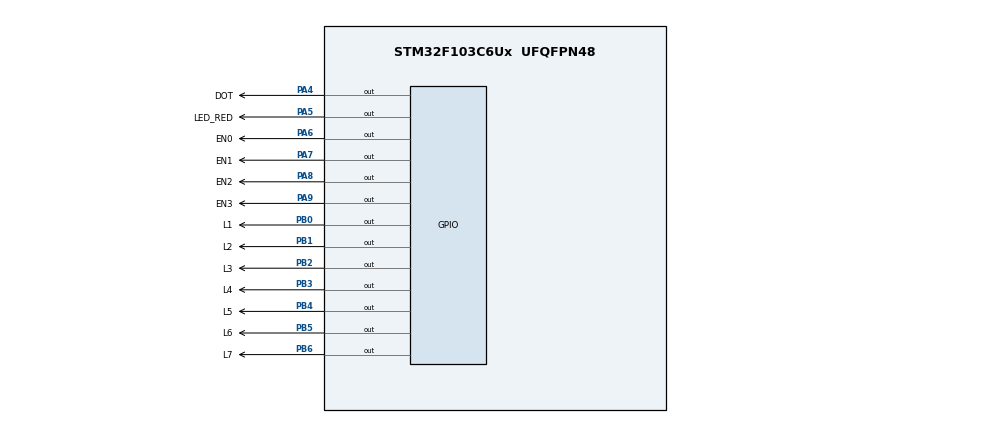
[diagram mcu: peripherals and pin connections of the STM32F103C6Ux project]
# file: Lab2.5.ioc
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Mcu.Family=STM32F1
Mcu.Name=STM32F103C6Ux
Mcu.Package=UFQFPN48
NVIC.PriorityGroup=NVIC_PRIORITYGROUP_4
NVIC.TIM2_IRQn=true\:0\:0\:false\:false\:true\:true\:true
PA4.GPIO_Label=DOT
PA4.Signal=GPIO_Output
PA5.GPIO_Label=LED_RED
PA5.Signal=GPIO_Output
PA6.GPIO_Label=EN0
PA6.Signal=GPIO_Output
PA7.GPIO_Label=EN1
PA7.Signal=GPIO_Output
PA8.GPIO_Label=EN2
PA8.Signal=GPIO_Output
PA9.GPIO_Label=EN3
PA9.Signal=GPIO_Output
PB0.GPIO_Label=L1
PB0.Signal=GPIO_Output
PB1.GPIO_Label=L2
PB1.Signal=GPIO_Output
PB2.GPIO_Label=L3
PB2.Signal=GPIO_Output
PB3.GPIO_Label=L4
PB3.Signal=GPIO_Output
PB4.GPIO_Label=L5
PB4.Signal=GPIO_Output
PB5.GPIO_Label=L6
PB5.Signal=GPIO_Output
PB6.GPIO_Label=L7
PB6.Signal=GPIO_Output
ProjectManager.HeapSize=0x200
ProjectManager.StackSize=0x400
ProjectManager.TargetToolchain=STM32CubeIDE
RCC.APB1Freq_Value=8000000
RCC.APB2Freq_Value=8000000
TIM2.Period=9
TIM2.Prescaler=7999
VP_SYS_VS_ND.Mode=No_Debug
VP_TIM2_VS_ClockSourceINT.Mode=Internal
board=custom

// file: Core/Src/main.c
/* USER CODE BEGIN Header */
/**
  ******************************************************************************
  * @file           : main.c
  * @brief          : Main program body
  ******************************************************************************
  * @attention
  *
  * <h2><center>&copy; Copyright (c) 2022 STMicroelectronics.
  * All rights reserved.</center></h2>
  *
  * This software component is licensed by ST under BSD 3-Clause license,
  * the "License"; You may not use this file except in compliance with the
  * License. You may obtain a copy of the License at:
  *                        opensource.org/licenses/BSD-3-Clause
  *
  ******************************************************************************
  */
/* USER CODE END Header */
#include "main.h"

/* USER CODE BEGIN Includes */
#include "timer.h"
/* USER CODE END Includes */

TIM_HandleTypeDef htim2;

void SystemClock_Config(void);
static void MX_GPIO_Init(void);
static void MX_TIM2_Init(void);

/* USER CODE BEGIN 0 */

void display7SEG(int num){
	  HAL_GPIO_WritePin( L1_GPIO_Port , L1_Pin ,GPIO_PIN_SET );
	  HAL_GPIO_WritePin( L2_GPIO_Port , L2_Pin ,GPIO_PIN_SET );
	  HAL_GPIO_WritePin( L3_GPIO_Port , L3_Pin ,GPIO_PIN_SET );
	  HAL_GPIO_WritePin( L4_GPIO_Port , L4_Pin ,GPIO_PIN_SET );
	  HAL_GPIO_WritePin( L5_GPIO_Port , L5_Pin ,GPIO_PIN_SET );
	  HAL_GPIO_WritePin( L6_GPIO_Port , L6_Pin ,GPIO_PIN_SET );
	  HAL_GPIO_WritePin( L7_GPIO_Port , L7_Pin ,GPIO_PIN_SET );
	  if(num<=0){
		  HAL_GPIO_WritePin( L1_GPIO_Port , L1_Pin ,GPIO_PIN_RESET );
		  HAL_GPIO_WritePin( L2_GPIO_Port , L2_Pin ,GPIO_PIN_RESET );
		  HAL_GPIO_WritePin( L3_GPIO_Port , L3_Pin ,GPIO_PIN_RESET );
		  HAL_GPIO_WritePin( L4_GPIO_Port , L4_Pin ,GPIO_PIN_RESET );
		  HAL_GPIO_WritePin( L5_GPIO_Port , L5_Pin ,GPIO_PIN_RESET );
		  HAL_GPIO_WritePin( L6_GPIO_Port , L6_Pin ,GPIO_PIN_RESET );
	  }
	  else if(num==1){
		  HAL_GPIO_WritePin( L2_GPIO_Port , L2_Pin ,GPIO_PIN_RESET );
		  HAL_GPIO_WritePin( L3_GPIO_Port , L3_Pin ,GPIO_PIN_RESET );
	  }
	  else if(num==2){
		  HAL_GPIO_WritePin( L1_GPIO_Port , L1_Pin ,GPIO_PIN_RESET );
		  HAL_GPIO_WritePin( L2_GPIO_Port , L2_Pin ,GPIO_PIN_RESET );
		  HAL_GPIO_WritePin( L4_GPIO_Port , L4_Pin ,GPIO_PIN_RESET );
		  HAL_GPIO_WritePin( L5_GPIO_Port , L5_Pin ,GPIO_PIN_RESET );
		  HAL_GPIO_WritePin( L7_GPIO_Port , L7_Pin ,GPIO_PIN_RESET );
	  }
	  else if(num==3){
		  HAL_GPIO_WritePin( L1_GPIO_Port , L1_Pin ,GPIO_PIN_RESET );
		  HAL_GPIO_WritePin( L2_GPIO_Port , L2_Pin ,GPIO_PIN_RESET );
		  HAL_GPIO_WritePin( L3_GPIO_Port , L3_Pin ,GPIO_PIN_RESET );
		  HAL_GPIO_WritePin( L4_GPIO_Port , L4_Pin ,GPIO_PIN_RESET );
		  HAL_GPIO_WritePin( L7_GPIO_Port , L7_Pin ,GPIO_PIN_RESET );
	  }
	  else if(num==4){
		  HAL_GPIO_WritePin( L2_GPIO_Port , L2_Pin ,GPIO_PIN_RESET );
		  HAL_GPIO_WritePin( L3_GPIO_Port , L3_Pin ,GPIO_PIN_RESET );
		  HAL_GPIO_WritePin( L6_GPIO_Port , L6_Pin ,GPIO_PIN_RESET );
		  HAL_GPIO_WritePin( L7_GPIO_Port , L7_Pin ,GPIO_PIN_RESET );
	  }
	  else if(num==5){
		  HAL_GPIO_WritePin( L1_GPIO_Port , L1_Pin ,GPIO_PIN_RESET );
		  HAL_GPIO_WritePin( L3_GPIO_Port , L3_Pin ,GPIO_PIN_RESET );
		  HAL_GPIO_WritePin( L4_GPIO_Port , L4_Pin ,GPIO_PIN_RESET );
		  HAL_GPIO_WritePin( L6_GPIO_Port , L6_Pin ,GPIO_PIN_RESET );
		  HAL_GPIO_WritePin( L7_GPIO_Port , L7_Pin ,GPIO_PIN_RESET );
	  }
	  else if(num==6){
		  HAL_GPIO_WritePin( L1_GPIO_Port , L1_Pin ,GPIO_PIN_RESET );
		  HAL_GPIO_WritePin( L3_GPIO_Port , L3_Pin ,GPIO_PIN_RESET );
		  HAL_GPIO_WritePin( L4_GPIO_Port , L4_Pin ,GPIO_PIN_RESET );
		  HAL_GPIO_WritePin( L5_GPIO_Port , L5_Pin ,GPIO_PIN_RESET );
		  HAL_GPIO_WritePin( L6_GPIO_Port , L6_Pin ,GPIO_PIN_RESET );
		  HAL_GPIO_WritePin( L7_GPIO_Port , L7_Pin ,GPIO_PIN_RESET );
	  }
	  else if(num==7){
		  HAL_GPIO_WritePin( L1_GPIO_Port , L1_Pin ,GPIO_PIN_RESET );
		  HAL_GPIO_WritePin( L2_GPIO_Port , L2_Pin ,GPIO_PIN_RESET );
		  HAL_GPIO_WritePin( L3_GPIO_Port , L3_Pin ,GPIO_PIN_RESET );
	  }
	  else if(num==8){
		  HAL_GPIO_WritePin( L1_GPIO_Port , L1_Pin ,GPIO_PIN_RESET );
		  HAL_GPIO_WritePin( L2_GPIO_Port , L2_Pin ,GPIO_PIN_RESET );
		  HAL_GPIO_WritePin( L3_GPIO_Port , L3_Pin ,GPIO_PIN_RESET );
		  HAL_GPIO_WritePin( L4_GPIO_Port , L4_Pin ,GPIO_PIN_RESET );
		  HAL_GPIO_WritePin( L5_GPIO_Port , L5_Pin ,GPIO_PIN_RESET );
		  HAL_GPIO_WritePin( L6_GPIO_Port , L6_Pin ,GPIO_PIN_RESET );
		  HAL_GPIO_WritePin( L7_GPIO_Port , L7_Pin ,GPIO_PIN_RESET );
	  }
	  else if(num==9){
		  HAL_GPIO_WritePin( L1_GPIO_Port , L1_Pin ,GPIO_PIN_RESET );
		  HAL_GPIO_WritePin( L2_GPIO_Port , L2_Pin ,GPIO_PIN_RESET );
		  HAL_GPIO_WritePin( L3_GPIO_Port , L3_Pin ,GPIO_PIN_RESET );
		  HAL_GPIO_WritePin( L4_GPIO_Port , L4_Pin ,GPIO_PIN_RESET );
		  HAL_GPIO_WritePin( L6_GPIO_Port , L6_Pin ,GPIO_PIN_RESET );
		  HAL_GPIO_WritePin( L7_GPIO_Port , L7_Pin ,GPIO_PIN_RESET );
	  }
}
const int MAX_LED = 4;
int led_buffer[4] = {1 , 2 , 3 , 4};
   void update7SEG( int index ) {
	   switch ( index ){
	   	   case 0:
	   		   // Display the first 7 SEG with led_buffer [0]
	   		HAL_GPIO_WritePin(EN0_GPIO_Port, EN0_Pin, RESET);
	   		HAL_GPIO_WritePin(EN1_GPIO_Port, EN1_Pin, SET);
	   		HAL_GPIO_WritePin(EN2_GPIO_Port, EN2_Pin, SET);
	   		HAL_GPIO_WritePin(EN3_GPIO_Port, EN3_Pin, SET);
	   		 display7SEG(led_buffer[0]);
	   		   break ;
	   	   case 1:
	   		   // Display the second 7 SEG with led_buffer [1]
	   		 HAL_GPIO_WritePin(EN0_GPIO_Port, EN0_Pin, SET);
	   		 HAL_GPIO_WritePin(EN1_GPIO_Port, EN1_Pin, RESET);
	   		 HAL_GPIO_WritePin(EN2_GPIO_Port, EN2_Pin, SET);
	   		 HAL_GPIO_WritePin(EN3_GPIO_Port, EN3_Pin, SET);
	   		display7SEG(led_buffer[1]);
	   		   break ;
	   	   case 2:
	   		   // Display the third 7 SEG with led_buffer [2]
	   		HAL_GPIO_WritePin(EN0_GPIO_Port, EN0_Pin, SET);
	   		HAL_GPIO_WritePin(EN1_GPIO_Port, EN1_Pin, SET);
	   		HAL_GPIO_WritePin(EN2_GPIO_Port, EN2_Pin, RESET);
	   		HAL_GPIO_WritePin(EN3_GPIO_Port, EN3_Pin, SET);
	   		display7SEG(led_buffer[2]);
	   		   break ;
	   	   case 3:
	   		   // Display the forth 7 SEG with led_buffer [3]
	   		 HAL_GPIO_WritePin(EN0_GPIO_Port, EN0_Pin, SET);
	   		 HAL_GPIO_WritePin(EN1_GPIO_Port, EN1_Pin, SET);
	   		 HAL_GPIO_WritePin(EN2_GPIO_Port, EN2_Pin, SET);
	   		 HAL_GPIO_WritePin(EN3_GPIO_Port, EN3_Pin, RESET);
	   		display7SEG(led_buffer[3]);
	   		   break ;
	   	   default :
	   		   break ;
	   }
   }

/* USER CODE END 0 */

int main(void)
{

  /* MCU Configuration--------------------------------------------------------*/

  /* Reset of all peripherals, Initializes the Flash interface and the Systick. */
  HAL_Init();

  /* Configure the system clock */
  SystemClock_Config();

  /* Initialize all configured peripherals */
  MX_GPIO_Init();
  MX_TIM2_Init();

  /* Infinite loop */
  /* USER CODE BEGIN WHILE */
  HAL_TIM_Base_Start_IT(&htim2);
  int index = 0;
   setTimer1(50); // Ex4 change timer1=25 (250ms)
   setTimer2(100);
  // int count=1;
   //HAL_GPIO_WritePin(DOT_GPIO_Port, DOT_Pin, SET);
   int hour = 15 , minute = 8 , second = 50;
   setTimer1(50);
   void updateClockBuffer(){
	   led_buffer[0]=hour/10;
	   led_buffer[1]=hour%10;
	   led_buffer[2]=minute/10;
	   led_buffer[3]=minute%10;

	   update7SEG(index);
	   index++;
	   if(index >= 4) index = 0;

   }
   while (1) {
	   second ++;
	   if ( second >= 60) {
		   second = 0;
		   minute ++;
	   }
	   if( minute >= 60) {
		   minute = 0;
		   hour ++;
	   }
	   if( hour >=24) {
		   hour = 0;
	   }
	   updateClockBuffer();
	   HAL_Delay(1000) ;
   }

    /* USER CODE END WHILE */

}

void SystemClock_Config(void)
{
  RCC_OscInitTypeDef RCC_OscInitStruct = {0};
  RCC_ClkInitTypeDef RCC_ClkInitStruct = {0};

  /** Initializes the RCC Oscillators according to the specified parameters
  * in the RCC_OscInitTypeDef structure.
  */
  RCC_OscInitStruct.OscillatorType = RCC_OSCILLATORTYPE_HSI;
  RCC_OscInitStruct.HSIState = RCC_HSI_ON;
  RCC_OscInitStruct.HSICalibrationValue = RCC_HSICALIBRATION_DEFAULT;
  RCC_OscInitStruct.PLL.PLLState = RCC_PLL_NONE;
  if (HAL_RCC_OscConfig(&RCC_OscInitStruct) != HAL_OK)
  {
    Error_Handler();
  }
  /** Initializes the CPU, AHB and APB buses clocks
  */
  RCC_ClkInitStruct.ClockType = RCC_CLOCKTYPE_HCLK|RCC_CLOCKTYPE_SYSCLK
                              |RCC_CLOCKTYPE_PCLK1|RCC_CLOCKTYPE_PCLK2;
  RCC_ClkInitStruct.SYSCLKSource = RCC_SYSCLKSOURCE_HSI;
  RCC_ClkInitStruct.AHBCLKDivider = RCC_SYSCLK_DIV1;
  RCC_ClkInitStruct.APB1CLKDivider = RCC_HCLK_DIV1;
  RCC_ClkInitStruct.APB2CLKDivider = RCC_HCLK_DIV1;

  if (HAL_RCC_ClockConfig(&RCC_ClkInitStruct, FLASH_LATENCY_0) != HAL_OK)
  {
    Error_Handler();
  }
}

static void MX_TIM2_Init(void)
{

  TIM_ClockConfigTypeDef sClockSourceConfig = {0};
  TIM_MasterConfigTypeDef sMasterConfig = {0};

  htim2.Instance = TIM2;
  htim2.Init.Prescaler = 7999;
  htim2.Init.CounterMode = TIM_COUNTERMODE_UP;
  htim2.Init.Period = 9;
  htim2.Init.ClockDivision = TIM_CLOCKDIVISION_DIV1;
  htim2.Init.AutoReloadPreload = TIM_AUTORELOAD_PRELOAD_DISABLE;
  if (HAL_TIM_Base_Init(&htim2) != HAL_OK)
  {
    Error_Handler();
  }
  sClockSourceConfig.ClockSource = TIM_CLOCKSOURCE_INTERNAL;
  if (HAL_TIM_ConfigClockSource(&htim2, &sClockSourceConfig) != HAL_OK)
  {
    Error_Handler();
  }
  sMasterConfig.MasterOutputTrigger = TIM_TRGO_RESET;
  sMasterConfig.MasterSlaveMode = TIM_MASTERSLAVEMODE_DISABLE;
  if (HAL_TIMEx_MasterConfigSynchronization(&htim2, &sMasterConfig) != HAL_OK)
  {
    Error_Handler();
  }

}

static void MX_GPIO_Init(void)
{
  GPIO_InitTypeDef GPIO_InitStruct = {0};

  /* GPIO Ports Clock Enable */
  __HAL_RCC_GPIOA_CLK_ENABLE();
  __HAL_RCC_GPIOB_CLK_ENABLE();

  /*Configure GPIO pin Output Level */
  HAL_GPIO_WritePin(GPIOA, DOT_Pin|LED_RED_Pin|EN0_Pin|EN1_Pin
                          |EN2_Pin|EN3_Pin, GPIO_PIN_RESET);

  /*Configure GPIO pin Output Level */
  HAL_GPIO_WritePin(GPIOB, L1_Pin|L2_Pin|L3_Pin|L4_Pin
                          |L5_Pin|L6_Pin|L7_Pin, GPIO_PIN_RESET);

  /*Configure GPIO pins : DOT_Pin LED_RED_Pin EN0_Pin EN1_Pin
                           EN2_Pin EN3_Pin */
  GPIO_InitStruct.Pin = DOT_Pin|LED_RED_Pin|EN0_Pin|EN1_Pin
                          |EN2_Pin|EN3_Pin;
  GPIO_InitStruct.Mode = GPIO_MODE_OUTPUT_PP;
  GPIO_InitStruct.Pull = GPIO_NOPULL;
  GPIO_InitStruct.Speed = GPIO_SPEED_FREQ_LOW;
  HAL_GPIO_Init(GPIOA, &GPIO_InitStruct);

  /*Configure GPIO pins : L1_Pin L2_Pin L3_Pin L4_Pin
                           L5_Pin L6_Pin L7_Pin */
  GPIO_InitStruct.Pin = L1_Pin|L2_Pin|L3_Pin|L4_Pin
                          |L5_Pin|L6_Pin|L7_Pin;
  GPIO_InitStruct.Mode = GPIO_MODE_OUTPUT_PP;
  GPIO_InitStruct.Pull = GPIO_NOPULL;
  GPIO_InitStruct.Speed = GPIO_SPEED_FREQ_LOW;
  HAL_GPIO_Init(GPIOB, &GPIO_InitStruct);

}

/* USER CODE BEGIN 4 */
void HAL_TIM_PeriodElapsedCallback(TIM_HandleTypeDef *htim){
	timerRun();
}
/* USER CODE END 4 */

void Error_Handler(void)
{
  __disable_irq();
  while (1)
  {
  }
}

/************************ (C) COPYRIGHT STMicroelectronics *****END OF FILE****/
